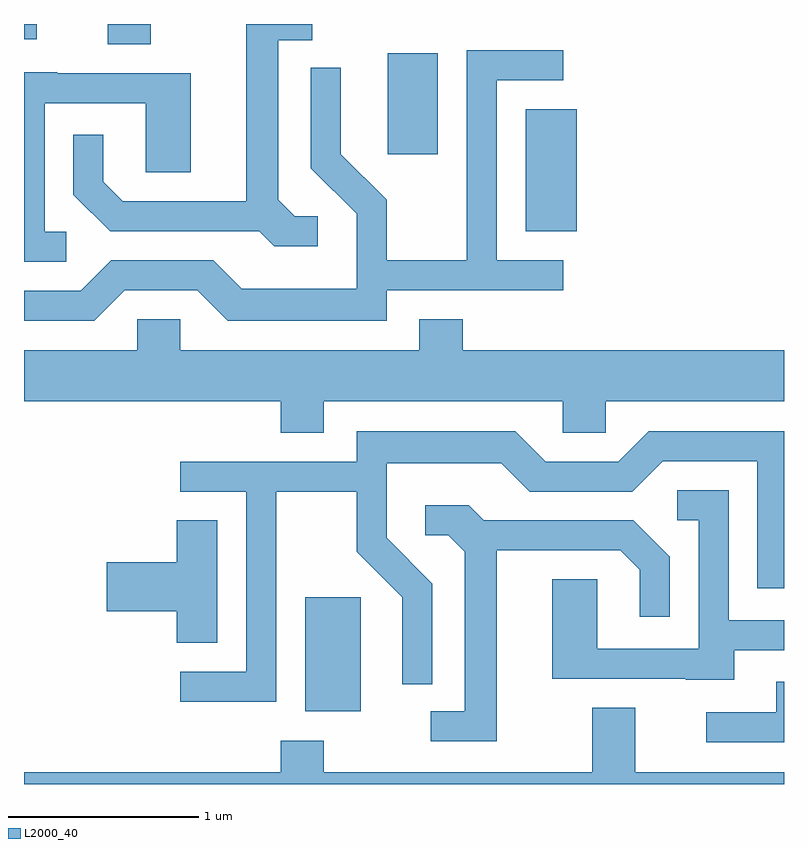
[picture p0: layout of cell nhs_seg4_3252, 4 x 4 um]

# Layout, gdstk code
import gdstk
lib = gdstk.Library(unit=1e-6, precision=1e-09)
def R(c, l, rs):  # rectangles x0, y0, x1, y1
    for r in rs: c.add(gdstk.rectangle(r[:2], r[2:], *l))
def P(c, l, *ps):  # polygons
    for p in ps: c.add(gdstk.Polygon(p, *l))
L2000_40 = (2000, 40)

nhs_seg4_3252 = lib.new_cell('nhs_seg4_3252')
R(nhs_seg4_3252, L2000_40, [(281.091,1366.366,281.384,1366.964), (282.251,1368.891,282.519,1369.534), (281.526,1369.296,281.789,1369.829), (280.051,1369.876,280.279,1369.982), (279.611,1369.901,279.678,1369.982)])
P(nhs_seg4_3252, L2000_40, [(281.158,1368.969),(281.037,1368.969),(280.949,1369.057),(280.949,1369.896),(281.128,1369.896),(281.128,1369.982),(280.781,1369.982),(280.781,1369.049),(280.132,1369.049),(280.029,1369.152),(280.029,1369.398),(279.871,1369.398),(279.871,1369.084),(280.064,1368.891),(280.849,1368.891),(280.929,1368.811),(281.158,1368.811)],
  [(280.142,1368.581),(280.524,1368.581),(280.684,1368.421),(281.519,1368.421),(281.519,1368.581),(282.448,1368.581),(282.448,1368.739),(282.099,1368.739),(282.099,1369.686),(282.448,1369.686),(282.448,1369.844),(281.941,1369.844),(281.941,1368.739),(281.519,1368.739),(281.519,1369.057),(281.279,1369.297),(281.279,1369.753),(281.121,1369.753),(281.121,1369.224),(281.361,1368.984),(281.361,1368.589),(280.757,1368.589),(280.607,1368.739),(280.069,1368.739),(279.909,1368.579),(279.611,1368.579),(279.611,1368.421),(279.982,1368.421)],
  [(279.833,1368.889),(279.719,1368.889),(279.719,1369.566),(280.251,1369.566),(280.251,1369.201),(280.489,1369.201),(280.489,1369.724),(279.785,1369.724),(279.785,1369.729),(279.611,1369.729),(279.611,1368.731),(279.833,1368.731)],
  [(281.189,1367.996),(282.446,1367.996),(282.446,1367.831),(282.674,1367.831),(282.674,1367.996),(283.611,1367.996),(283.611,1368.264),(281.919,1368.264),(281.919,1368.429),(281.691,1368.429),(281.691,1368.264),(280.434,1368.264),(280.434,1368.429),(280.206,1368.429),(280.206,1368.264),(279.611,1368.264),(279.611,1367.996),(280.961,1367.996),(280.961,1367.831),(281.189,1367.831)],
  [(280.939,1367.521),(281.361,1367.521),(281.361,1367.204),(281.601,1366.964),(281.601,1366.508),(281.759,1366.508),(281.759,1367.037),(281.519,1367.277),(281.519,1367.671),(282.124,1367.671),(282.274,1367.521),(282.812,1367.521),(282.972,1367.681),(283.471,1367.681),(283.471,1367.011),(283.611,1367.011),(283.611,1367.839),(282.899,1367.839),(282.739,1367.679),(282.357,1367.679),(282.197,1367.839),(281.361,1367.839),(281.361,1367.679),(280.433,1367.679),(280.433,1367.521),(280.781,1367.521),(280.781,1366.574),(280.433,1366.574),(280.433,1366.416),(280.939,1366.416)],
  [(283.349,1366.686),(283.611,1366.686),(283.611,1366.844),(283.319,1366.844),(283.319,1367.529),(283.048,1367.529),(283.048,1367.371),(283.161,1367.371),(283.161,1366.694),(282.629,1366.694),(282.629,1367.059),(282.391,1367.059),(282.391,1366.536),(283.095,1366.536),(283.095,1366.531),(283.349,1366.531)],
  [(282.099,1367.211),(282.749,1367.211),(282.851,1367.109),(282.851,1366.863),(283.009,1366.863),(283.009,1367.177),(282.817,1367.369),(282.032,1367.369),(281.952,1367.449),(281.723,1367.449),(281.723,1367.291),(281.844,1367.291),(281.931,1367.204),(281.931,1366.364),(281.753,1366.364),(281.753,1366.206),(282.099,1366.206)],
  [(280.629,1367.369),(280.416,1367.369),(280.416,1367.149),(280.046,1367.149),(280.046,1366.891),(280.416,1366.891),(280.416,1366.726),(280.629,1366.726)],
  [(283.611,1366.519),(283.571,1366.519),(283.571,1366.359),(283.203,1366.359),(283.203,1366.201),(283.611,1366.201)],
  [(283.611,1366.044),(282.829,1366.044),(282.829,1366.384),(282.601,1366.384),(282.601,1366.044),(281.189,1366.044),(281.189,1366.209),(280.961,1366.209),(280.961,1366.044),(279.611,1366.044),(279.611,1365.982),(283.611,1365.982)])

lib.write_gds('nhs_seg4_3252.gds')
